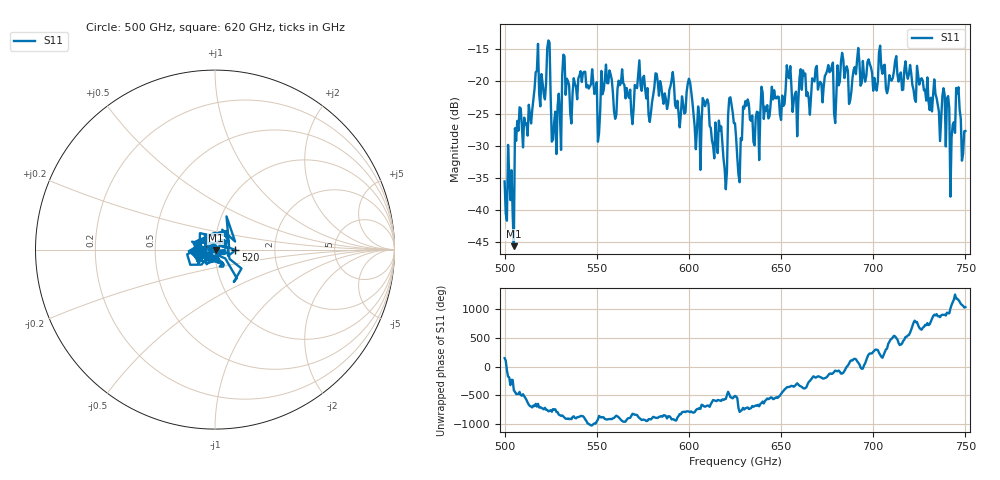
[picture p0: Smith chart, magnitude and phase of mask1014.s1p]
!Created with skrf (http://scikit-rf.org).
# GHz S MA R 50.0
!freq magS11 angS11
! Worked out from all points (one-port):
!   401 points, 500 GHz to 750 GHz, reference 50 ohm
!   lowest |S11| = -45.6 dB at 505 GHz (marker M1), VSWR 1.01, Z = 50.3 - j0.413 ohm
!   |S11| at or under -10 dB: start of sweep to end of sweep
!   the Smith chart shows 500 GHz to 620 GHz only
!   S11 on the Smith chart (normalised r, x): 500 GHz: 0.97, +0.02; 520 GHz: 1.26, -0.01; 620 GHz: 0.97, +0.01
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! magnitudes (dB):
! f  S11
! 500 GHz  -35.6
! 505 GHz  -45.6
! 507.5 GHz  -27.7
! 520 GHz  -18.9
! 523.8 GHz  -13.6
! 526.9 GHz  -26.3
! 531.2 GHz  -19.0
! 542.5 GHz  -18.7
! 550.6 GHz  -29.4
! 562.5 GHz  -20.6
! 590.6 GHz  -19.8
! 593.8 GHz  -23.0
! 600 GHz  -19.6
! 605 GHz  -23.9
! 608.8 GHz  -23.9
! 620 GHz  -36.8
! 622.5 GHz  -22.5
! 625 GHz  -26.5
! 627.5 GHz  -35.7
! 630.6 GHz  -23.1
! 636.9 GHz  -24.7
! 656.2 GHz  -24.8
! 687.5 GHz  -22.9
! 718.8 GHz  -19.6
! 739.4 GHz  -30.1
! 743.1 GHz  -26.7
! 746.2 GHz  -20.9
! 750 GHz  -27.7
